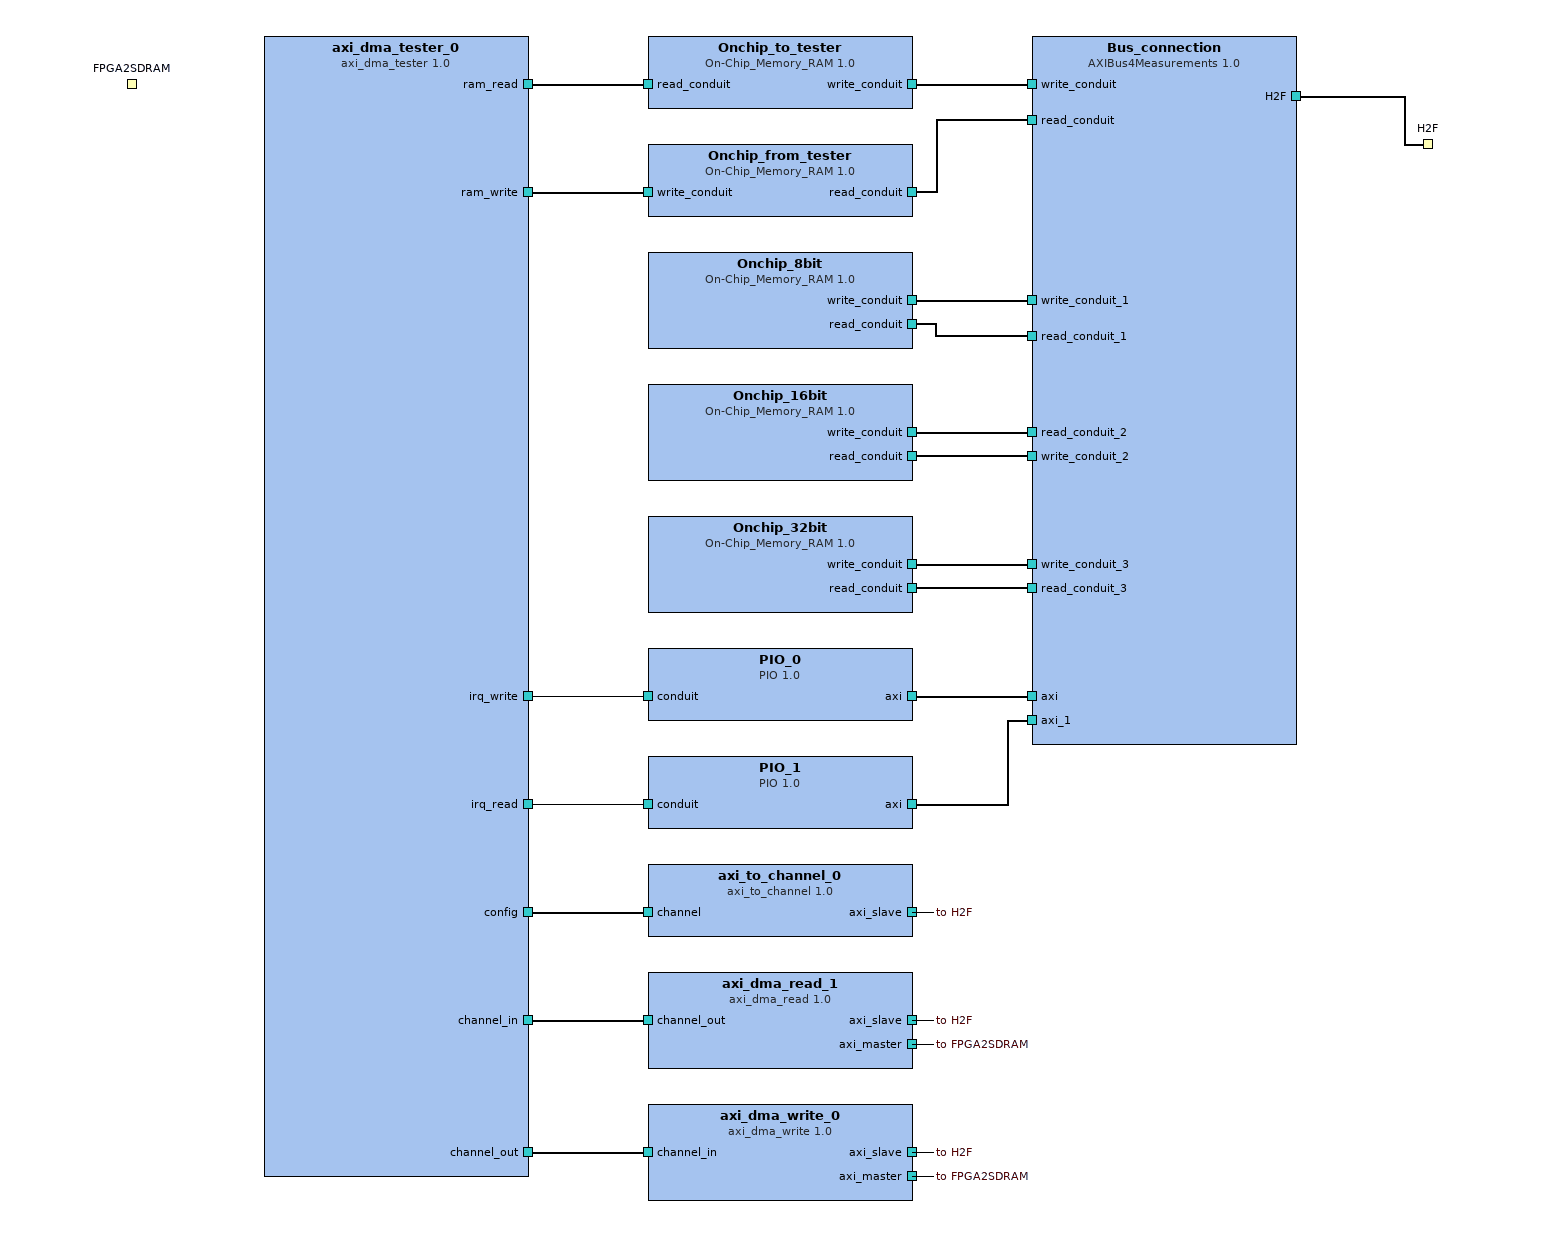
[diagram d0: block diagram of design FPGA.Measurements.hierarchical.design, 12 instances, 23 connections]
<?xml version="1.0" encoding="UTF-8"?>
<ipxact:design xmlns:xsi="http://www.w3.org/2001/XMLSchema-instance" xmlns:ipxact="http://www.accellera.org/XMLSchema/IPXACT/1685-2014" xmlns:kactus2="http://kactus2.cs.tut.fi" xsi:schemaLocation="http://www.accellera.org/XMLSchema/IPXACT/1685-2014 http://www.accellera.org/XMLSchema/IPXACT/1685-2014/index.xsd"><ipxact:vendor>TUNI.fi</ipxact:vendor><ipxact:library>soc</ipxact:library><ipxact:name>FPGA.Measurements.hierarchical.design</ipxact:name>
 <ipxact:version>1.1_student</ipxact:version><ipxact:componentInstances>
 <ipxact:componentInstance><ipxact:instanceName>axi_dma_tester_0</ipxact:instanceName><ipxact:componentRef vendor="TUNI.fi" library="ip.hw" name="axi_dma_tester" version="1.0"/></ipxact:componentInstance>
 <ipxact:componentInstance><ipxact:instanceName>axi_dma_write_0</ipxact:instanceName><ipxact:componentRef vendor="TUNI.fi" library="ip.hwp.mem" name="axi_dma_write" version="1.0"/></ipxact:componentInstance>
 <ipxact:componentInstance><ipxact:instanceName>axi_dma_read_1</ipxact:instanceName><ipxact:componentRef vendor="TUNI.fi" library="ip.hwp.mem" name="axi_dma_read" version="1.0"/></ipxact:componentInstance>
 <ipxact:componentInstance><ipxact:instanceName>axi_to_channel_0</ipxact:instanceName><ipxact:componentRef vendor="TUNI.fi" library="ip.hwp.mem" name="axi_to_channel" version="1.0"/></ipxact:componentInstance>
 <ipxact:componentInstance><ipxact:instanceName>PIO_1</ipxact:instanceName><ipxact:componentRef vendor="TUNI.fi" library="ip.hwp.com" name="PIO" version="1.0"/></ipxact:componentInstance>
 <ipxact:componentInstance><ipxact:instanceName>PIO_0</ipxact:instanceName><ipxact:componentRef vendor="TUNI.fi" library="ip.hwp.com" name="PIO" version="1.0"/></ipxact:componentInstance>
 <ipxact:componentInstance><ipxact:instanceName>Onchip_from_tester</ipxact:instanceName><ipxact:componentRef vendor="TUNI.fi" library="ip.hwp.mem" name="On-Chip_Memory_RAM" version="1.0"/></ipxact:componentInstance>
 <ipxact:componentInstance><ipxact:instanceName>Onchip_to_tester</ipxact:instanceName><ipxact:componentRef vendor="TUNI.fi" library="ip.hwp.mem" name="On-Chip_Memory_RAM" version="1.0"/></ipxact:componentInstance>
 <ipxact:componentInstance><ipxact:instanceName>Onchip_8bit</ipxact:instanceName><ipxact:componentRef vendor="TUNI.fi" library="ip.hwp.mem" name="On-Chip_Memory_RAM" version="1.0"/></ipxact:componentInstance>
 <ipxact:componentInstance><ipxact:instanceName>Onchip_16bit</ipxact:instanceName><ipxact:componentRef vendor="TUNI.fi" library="ip.hwp.mem" name="On-Chip_Memory_RAM" version="1.0"/></ipxact:componentInstance>
 <ipxact:componentInstance><ipxact:instanceName>Onchip_32bit</ipxact:instanceName><ipxact:componentRef vendor="TUNI.fi" library="ip.hwp.mem" name="On-Chip_Memory_RAM" version="1.0"/></ipxact:componentInstance>
 <ipxact:componentInstance><ipxact:instanceName>Bus_connection</ipxact:instanceName><ipxact:componentRef vendor="TUNI.fi" library="ip.hwp.com" name="AXIBus4Measurements" version="1.0"/></ipxact:componentInstance>
</ipxact:componentInstances><ipxact:interconnections>
 <ipxact:interconnection><ipxact:name>axi_dma_tester_0_config_to_axi_to_channel_0_channel</ipxact:name><ipxact:activeInterface componentRef="axi_dma_tester_0" busRef="config"/><ipxact:activeInterface componentRef="axi_to_channel_0" busRef="channel"/></ipxact:interconnection>
 <ipxact:interconnection><ipxact:name>axi_dma_tester_0_ram_write_to_Onchip_from_tester_write_conduit</ipxact:name><ipxact:activeInterface componentRef="axi_dma_tester_0" busRef="ram_write"/><ipxact:activeInterface componentRef="Onchip_from_tester" busRef="write_conduit"/></ipxact:interconnection>
 <ipxact:interconnection><ipxact:name>axi_dma_tester_0_channel_in_to_axi_dma_read_1_channel_out</ipxact:name><ipxact:activeInterface componentRef="axi_dma_tester_0" busRef="channel_in"/><ipxact:activeInterface componentRef="axi_dma_read_1" busRef="channel_out"/></ipxact:interconnection>
 <ipxact:interconnection><ipxact:name>axi_dma_tester_0_channel_out_to_axi_dma_write_0_channel_in</ipxact:name><ipxact:activeInterface componentRef="axi_dma_tester_0" busRef="channel_out"/><ipxact:activeInterface componentRef="axi_dma_write_0" busRef="channel_in"/></ipxact:interconnection>
 <ipxact:interconnection><ipxact:name>axi_dma_tester_0_ram_read_to_Onchip_to_tester_read_conduit</ipxact:name><ipxact:activeInterface componentRef="axi_dma_tester_0" busRef="ram_read"/><ipxact:activeInterface componentRef="Onchip_to_tester" busRef="read_conduit"/></ipxact:interconnection>
 <ipxact:interconnection><ipxact:name>H2F1</ipxact:name><ipxact:activeInterface componentRef="axi_to_channel_0" busRef="axi_slave"/><ipxact:hierInterface busRef="H2F"/></ipxact:interconnection>
 <ipxact:interconnection><ipxact:name>H2F2</ipxact:name><ipxact:activeInterface componentRef="axi_dma_read_1" busRef="axi_slave"/><ipxact:hierInterface busRef="H2F"/></ipxact:interconnection>
 <ipxact:interconnection><ipxact:name>H2F3</ipxact:name><ipxact:activeInterface componentRef="axi_dma_write_0" busRef="axi_slave"/><ipxact:hierInterface busRef="H2F"/></ipxact:interconnection>
 <ipxact:interconnection><ipxact:name>FPGA2SDRAM0</ipxact:name><ipxact:activeInterface componentRef="axi_dma_read_1" busRef="axi_master"/><ipxact:hierInterface busRef="FPGA2SDRAM"/></ipxact:interconnection>
 <ipxact:interconnection><ipxact:name>FPGA2SDRAM1</ipxact:name><ipxact:activeInterface componentRef="axi_dma_write_0" busRef="axi_master"/><ipxact:hierInterface busRef="FPGA2SDRAM"/></ipxact:interconnection>
 <ipxact:interconnection><ipxact:name>Onchip_to_tester_write_conduit_to_Bus_connection_write_conduit</ipxact:name><ipxact:activeInterface componentRef="Onchip_to_tester" busRef="write_conduit"/><ipxact:activeInterface componentRef="Bus_connection" busRef="write_conduit"/></ipxact:interconnection>
 <ipxact:interconnection><ipxact:name>Bus_connection_read_conduit_to_Onchip_from_tester_read_conduit</ipxact:name><ipxact:activeInterface componentRef="Bus_connection" busRef="read_conduit"/><ipxact:activeInterface componentRef="Onchip_from_tester" busRef="read_conduit"/></ipxact:interconnection>
 <ipxact:interconnection><ipxact:name>Onchip_8bit_write_conduit_to_Bus_connection_write_conduit_1</ipxact:name><ipxact:activeInterface componentRef="Onchip_8bit" busRef="write_conduit"/><ipxact:activeInterface componentRef="Bus_connection" busRef="write_conduit_1"/></ipxact:interconnection>
 <ipxact:interconnection><ipxact:name>Bus_connection_read_conduit_1_to_Onchip_8bit_read_conduit</ipxact:name><ipxact:activeInterface componentRef="Bus_connection" busRef="read_conduit_1"/><ipxact:activeInterface componentRef="Onchip_8bit" busRef="read_conduit"/></ipxact:interconnection>
 <ipxact:interconnection><ipxact:name>Onchip_16bit_write_conduit_to_Bus_connection_read_conduit_2</ipxact:name><ipxact:activeInterface componentRef="Onchip_16bit" busRef="write_conduit"/><ipxact:activeInterface componentRef="Bus_connection" busRef="read_conduit_2"/></ipxact:interconnection>
 <ipxact:interconnection><ipxact:name>Bus_connection_write_conduit_2_to_Onchip_16bit_read_conduit</ipxact:name><ipxact:activeInterface componentRef="Bus_connection" busRef="write_conduit_2"/><ipxact:activeInterface componentRef="Onchip_16bit" busRef="read_conduit"/></ipxact:interconnection>
 <ipxact:interconnection><ipxact:name>PIO_0_axi_to_Bus_connection_axi</ipxact:name><ipxact:activeInterface componentRef="PIO_0" busRef="axi"/><ipxact:activeInterface componentRef="Bus_connection" busRef="axi"/></ipxact:interconnection>
 <ipxact:interconnection><ipxact:name>PIO_1_axi_to_Bus_connection_axi_1</ipxact:name><ipxact:activeInterface componentRef="PIO_1" busRef="axi"/><ipxact:activeInterface componentRef="Bus_connection" busRef="axi_1"/></ipxact:interconnection>
 <ipxact:interconnection><ipxact:name>Onchip_32bit_write_conduit_to_Bus_connection_write_conduit_3</ipxact:name><ipxact:activeInterface componentRef="Onchip_32bit" busRef="write_conduit"/><ipxact:activeInterface componentRef="Bus_connection" busRef="write_conduit_3"/></ipxact:interconnection>
 <ipxact:interconnection><ipxact:name>Bus_connection_read_conduit_3_to_Onchip_32bit_read_conduit</ipxact:name><ipxact:activeInterface componentRef="Bus_connection" busRef="read_conduit_3"/><ipxact:activeInterface componentRef="Onchip_32bit" busRef="read_conduit"/></ipxact:interconnection>
 <ipxact:interconnection><ipxact:name>Bus_connection_H2F_to_H2F</ipxact:name><ipxact:activeInterface componentRef="Bus_connection" busRef="H2F"/><ipxact:hierInterface busRef="H2F"/></ipxact:interconnection>
</ipxact:interconnections><ipxact:adHocConnections>
 <ipxact:adHocConnection><ipxact:name>axi_dma_tester_0_irq_write_to_PIO_0_conduit</ipxact:name><ipxact:portReferences>
  <ipxact:internalPortReference componentRef="PIO_0" portRef="conduit"><ipxact:partSelect><ipxact:range><ipxact:left>0</ipxact:left><ipxact:right>0</ipxact:right></ipxact:range></ipxact:partSelect></ipxact:internalPortReference>
  <ipxact:internalPortReference componentRef="axi_dma_tester_0" portRef="irq_write"><ipxact:partSelect><ipxact:range><ipxact:left>0</ipxact:left><ipxact:right>0</ipxact:right></ipxact:range></ipxact:partSelect></ipxact:internalPortReference>
 </ipxact:portReferences></ipxact:adHocConnection>
 <ipxact:adHocConnection><ipxact:name>PIO_1_conduit_to_axi_dma_tester_0_irq_read</ipxact:name><ipxact:portReferences>
  <ipxact:internalPortReference componentRef="axi_dma_tester_0" portRef="irq_read"><ipxact:partSelect><ipxact:range><ipxact:left>0</ipxact:left><ipxact:right>0</ipxact:right></ipxact:range></ipxact:partSelect></ipxact:internalPortReference>
  <ipxact:internalPortReference componentRef="PIO_1" portRef="conduit"><ipxact:partSelect><ipxact:range><ipxact:left>0</ipxact:left><ipxact:right>0</ipxact:right></ipxact:range></ipxact:partSelect></ipxact:internalPortReference>
 </ipxact:portReferences></ipxact:adHocConnection>
</ipxact:adHocConnections></ipxact:design>
<!-- note: U&K 4 end U&K 14 start -->
<!-- note: U. 3 end U&K 5 end U&K 15 start -->
<!-- note: U&K 6 end U&K 16 start -->
<!-- note: K.20 end K.8 start -->
<!-- note: K.10 start -->
<!-- note: U.4 & 5 start -->
<!-- note: U.8 start K.6 start -->
<!-- note: U.9 end U.10 start U.19 start U.20 end K.14 end K.15 end K.16 end -->
<!-- note: K.1 end -->
<!-- note: K.2 start K.9 end -->
<!-- note: K.9 start -->

